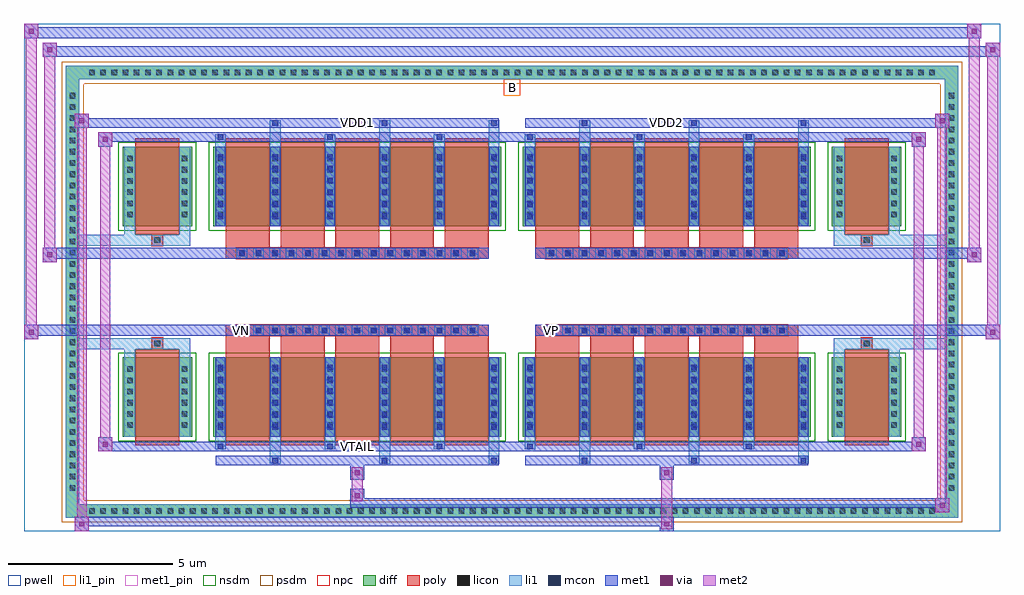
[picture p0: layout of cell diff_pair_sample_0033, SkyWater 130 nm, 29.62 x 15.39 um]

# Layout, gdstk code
import gdstk
lib = gdstk.Library(unit=1e-6, precision=5e-09)
def R(c, l, rs):  # rectangles x0, y0, x1, y1
    for r in rs: c.add(gdstk.rectangle(r[:2], r[2:], *l))
def A(c, l, x, y, w, h, nx, ny, dx, dy):  # array of equal rectangles
    R(c, l, [(x+i*dx, y+j*dy, x+i*dx+w, y+j*dy+h) for i in range(nx) for j in range(ny)])
def P(c, l, *ps):  # polygons
    for p in ps: c.add(gdstk.Polygon(p, *l))
pwell = (64, 44)
diff = (65, 20)
poly = (66, 20)
licon = (66, 44)
li1_pin = (67, 16)
li1 = (67, 20)
mcon = (67, 44)
met1_pin = (68, 16)
met1 = (68, 20)
via = (68, 44)
met2 = (69, 20)
nsdm = (93, 44)
psdm = (94, 20)
npc = (95, 20)

diff_pair_sample_0033 = lib.new_cell('diff_pair_sample_0033')
R(diff_pair_sample_0033, pwell, [(-14.81,-7.26,14.81,8.13), (-12.13,-5.45,-0.01,-0.805), (0.01,-5.45,12.13,-0.805), (-12.13,0.805,-0.01,5.45), (0.01,0.805,12.13,5.45)])
A(diff_pair_sample_0033, diff, -12.955, -6.86, 0.41, 0.41, 76, 2, 0.34, 13.31)
A(diff_pair_sample_0033, diff, -13.54, -6.155, 0.41, 0.41, 1, 36, 0, 0.34)
A(diff_pair_sample_0033, diff, 13.13, -6.155, 0.41, 0.41, 1, 36, 0, 0.34)
R(diff_pair_sample_0033, diff, [(-12.955,-6.86,12.955,-6.45), (-13.54,-6.155,-13.13,6.155), (13.13,-6.155,13.54,6.155), (-11.82,-4.405,-9.71,-1.985), (-9.07,-4.405,-0.32,-1.985), (0.32,-4.405,9.07,-1.985), (9.71,-4.405,11.82,-1.985), (-11.82,1.985,-9.71,4.405), (-9.07,1.985,-0.32,4.405), (0.32,1.985,9.07,4.405), (9.71,1.985,11.82,4.405), (-12.955,6.45,12.955,6.86)])
P(diff_pair_sample_0033, diff, [(13.54,6.86),(-13.54,6.86),(-13.54,-6.45),(-13.13,-6.45),(-13.13,6.45),(13.13,6.45),(13.13,-6.45),(-13.13,-6.45),(-13.54,-6.45),(-13.54,-6.86),(13.54,-6.86)])
A(diff_pair_sample_0033, poly, -8.68, -4.655, 1.33, 2.92, 5, 2, 1.66, 6.39)
A(diff_pair_sample_0033, poly, 0.71, -4.655, 1.33, 2.92, 5, 2, 1.66, 6.39)
A(diff_pair_sample_0033, poly, -8.68, -1.735, 1.33, 0.4, 5, 2, 1.66, 3.07)
A(diff_pair_sample_0033, poly, 0.71, -1.735, 1.33, 0.4, 5, 2, 1.66, 3.07)
A(diff_pair_sample_0033, poly, -8.36, -1.335, 0.33, 0.33, 15, 2, 0.5, 2.34)
A(diff_pair_sample_0033, poly, 1.03, -1.335, 0.33, 0.33, 15, 2, 0.5, 2.34)
R(diff_pair_sample_0033, poly, [(-11.43,-4.655,-10.1,-1.735), (10.1,-4.655,11.43,-1.735), (-10.93,-1.735,-10.6,-1.405), (-10.93,-1.735,-10.6,-1.405), (10.6,-1.735,10.93,-1.405), (10.6,-1.735,10.93,-1.405), (-8.68,-1.335,-0.71,-1.005), (0.71,-1.335,8.68,-1.005), (-8.68,1.005,-0.71,1.335), (0.71,1.005,8.68,1.335), (-10.93,1.405,-10.6,1.735), (-10.93,1.405,-10.6,1.735), (10.6,1.405,10.93,1.735), (10.6,1.405,10.93,1.735), (-11.43,1.735,-10.1,4.655), (10.1,1.735,11.43,4.655)])
A(diff_pair_sample_0033, licon, -12.835, -6.74, 0.17, 0.17, 76, 2, 0.34, 13.31)
A(diff_pair_sample_0033, licon, -13.42, -6.035, 0.17, 0.17, 1, 36, 0, 0.34)
A(diff_pair_sample_0033, licon, 13.25, -6.035, 0.17, 0.17, 1, 36, 0, 0.34)
A(diff_pair_sample_0033, licon, -11.68, -4.13, 0.17, 0.17, 1, 6, 0, 0.34)
A(diff_pair_sample_0033, licon, -10.02, -4.13, 0.17, 0.17, 1, 6, 0, 0.34)
A(diff_pair_sample_0033, licon, -8.93, -4.13, 0.17, 0.17, 6, 6, 1.66, 0.34)
A(diff_pair_sample_0033, licon, 0.46, -4.13, 0.17, 0.17, 6, 6, 1.66, 0.34)
A(diff_pair_sample_0033, licon, 9.85, -4.13, 0.17, 0.17, 1, 6, 0, 0.34)
A(diff_pair_sample_0033, licon, 11.51, -4.13, 0.17, 0.17, 1, 6, 0, 0.34)
A(diff_pair_sample_0033, licon, -8.28, -1.255, 0.17, 0.17, 15, 2, 0.5, 2.34)
A(diff_pair_sample_0033, licon, 1.11, -1.255, 0.17, 0.17, 15, 2, 0.5, 2.34)
A(diff_pair_sample_0033, licon, -11.68, 2.26, 0.17, 0.17, 1, 6, 0, 0.34)
A(diff_pair_sample_0033, licon, -10.02, 2.26, 0.17, 0.17, 1, 6, 0, 0.34)
A(diff_pair_sample_0033, licon, -8.93, 2.26, 0.17, 0.17, 6, 6, 1.66, 0.34)
A(diff_pair_sample_0033, licon, 0.46, 2.26, 0.17, 0.17, 6, 6, 1.66, 0.34)
A(diff_pair_sample_0033, licon, 9.85, 2.26, 0.17, 0.17, 1, 6, 0, 0.34)
A(diff_pair_sample_0033, licon, 11.51, 2.26, 0.17, 0.17, 1, 6, 0, 0.34)
R(diff_pair_sample_0033, licon, [(-10.85,-1.655,-10.68,-1.485), (10.68,-1.655,10.85,-1.485), (-10.85,1.485,-10.68,1.655), (10.68,1.485,10.85,1.655)])
R(diff_pair_sample_0033, li1_pin, [(-0.25,5.95,0.25,6.45)])
A(diff_pair_sample_0033, li1, -12.915, -6.82, 0.33, 0.33, 76, 2, 0.34, 13.31)
A(diff_pair_sample_0033, li1, -13.5, -6.115, 0.33, 0.33, 1, 36, 0, 0.34)
A(diff_pair_sample_0033, li1, 13.17, -6.115, 0.33, 0.33, 1, 36, 0, 0.34)
A(diff_pair_sample_0033, li1, -7.35, -5.21, 0.33, 0.805, 3, 2, 3.32, 9.615)
A(diff_pair_sample_0033, li1, -7.27, -5.21, 0.17, 0.17, 3, 2, 3.32, 10.25)
A(diff_pair_sample_0033, li1, 2.04, -5.21, 0.33, 0.805, 3, 2, 3.32, 9.615)
A(diff_pair_sample_0033, li1, 2.12, -5.21, 0.17, 0.17, 3, 2, 3.32, 10.25)
A(diff_pair_sample_0033, li1, -9.01, -4.78, 0.33, 0.375, 3, 2, 3.32, 9.185)
A(diff_pair_sample_0033, li1, -8.93, -4.78, 0.17, 0.17, 3, 2, 3.32, 9.39)
A(diff_pair_sample_0033, li1, 0.38, -4.78, 0.33, 0.375, 3, 2, 3.32, 9.185)
A(diff_pair_sample_0033, li1, 0.46, -4.78, 0.17, 0.17, 3, 2, 3.32, 9.39)
A(diff_pair_sample_0033, li1, -9.01, -4.405, 0.33, 2.42, 6, 2, 1.66, 6.39)
A(diff_pair_sample_0033, li1, 0.38, -4.405, 0.33, 2.42, 6, 2, 1.66, 6.39)
A(diff_pair_sample_0033, li1, -11.76, -4.21, 0.33, 0.33, 1, 6, 0, 0.34)
A(diff_pair_sample_0033, li1, -10.1, -4.21, 0.33, 0.33, 1, 6, 0, 0.34)
A(diff_pair_sample_0033, li1, -9.01, -4.21, 0.33, 0.33, 6, 6, 1.66, 0.34)
A(diff_pair_sample_0033, li1, 0.38, -4.21, 0.33, 0.33, 6, 6, 1.66, 0.34)
A(diff_pair_sample_0033, li1, 9.77, -4.21, 0.33, 0.33, 1, 6, 0, 0.34)
A(diff_pair_sample_0033, li1, 11.43, -4.21, 0.33, 0.33, 1, 6, 0, 0.34)
A(diff_pair_sample_0033, li1, -8.93, -4.18, 0.17, 0.17, 6, 6, 1.66, 0.36)
A(diff_pair_sample_0033, li1, -8.93, -4.18, 0.17, 1.97, 6, 2, 1.66, 6.39)
A(diff_pair_sample_0033, li1, 0.46, -4.18, 0.17, 0.17, 6, 6, 1.66, 0.36)
A(diff_pair_sample_0033, li1, 0.46, -4.18, 0.17, 1.97, 6, 2, 1.66, 6.39)
A(diff_pair_sample_0033, li1, -8.36, -1.335, 0.33, 0.33, 15, 2, 0.5, 2.34)
A(diff_pair_sample_0033, li1, 1.03, -1.335, 0.33, 0.33, 15, 2, 0.5, 2.34)
A(diff_pair_sample_0033, li1, -11.76, 2.18, 0.33, 0.33, 1, 6, 0, 0.34)
A(diff_pair_sample_0033, li1, -10.1, 2.18, 0.33, 0.33, 1, 6, 0, 0.34)
A(diff_pair_sample_0033, li1, -9.01, 2.18, 0.33, 0.33, 6, 6, 1.66, 0.34)
A(diff_pair_sample_0033, li1, 0.38, 2.18, 0.33, 0.33, 6, 6, 1.66, 0.34)
A(diff_pair_sample_0033, li1, 9.77, 2.18, 0.33, 0.33, 1, 6, 0, 0.34)
A(diff_pair_sample_0033, li1, 11.43, 2.18, 0.33, 0.33, 1, 6, 0, 0.34)
A(diff_pair_sample_0033, li1, -8.93, 2.21, 0.17, 0.17, 6, 6, 1.66, 0.36)
A(diff_pair_sample_0033, li1, 0.46, 2.21, 0.17, 0.17, 6, 6, 1.66, 0.36)
R(diff_pair_sample_0033, li1, [(-13.54,-6.86,-13.13,-6.45), (-13.54,-6.86,-13.13,-6.45), (-13.13,-6.86,13.13,-6.45), (13.13,-6.86,13.54,-6.45), (13.13,-6.86,13.54,-6.45), (-13.54,-6.45,-13.13,6.45), (13.13,-6.45,13.54,6.45), (-11.76,-4.405,-11.43,-1.985), (-10.1,-4.405,-9.77,-1.985), (9.77,-4.405,10.1,-1.985), (11.43,-4.405,11.76,-1.985), (-11.76,-1.985,-11.43,-1.405), (-10.1,-1.985,-9.77,-1.405), (9.77,-1.985,10.1,-1.405), (11.43,-1.985,11.76,-1.405), (-13.54,-1.735,-10.93,-1.405), (-11.76,-1.735,-10.93,-1.405), (-10.93,-1.735,-10.6,-1.405), (-10.6,-1.735,-9.77,-1.405), (9.77,-1.735,10.6,-1.405), (10.6,-1.735,10.93,-1.405), (10.6,-1.735,13.54,-1.405), (10.93,-1.735,11.76,-1.405), (-13.54,1.405,-10.93,1.735), (-11.76,1.405,-10.93,1.735), (-11.76,1.405,-11.43,1.985), (-10.93,1.405,-10.6,1.735), (-10.6,1.405,-9.77,1.735), (-10.1,1.405,-9.77,1.985), (9.77,1.405,10.6,1.735), (9.77,1.405,10.1,1.985), (10.6,1.405,10.93,1.735), (10.6,1.405,13.54,1.735), (10.93,1.405,11.76,1.735), (11.43,1.405,11.76,1.985), (-11.76,1.985,-11.43,4.405), (-10.1,1.985,-9.77,4.405), (9.77,1.985,10.1,4.405), (11.43,1.985,11.76,4.405), (-13.54,6.45,-13.13,6.86), (-13.54,6.45,-13.13,6.86), (-13.13,6.45,13.13,6.86), (13.13,6.45,13.54,6.86), (13.13,6.45,13.54,6.86)])
A(diff_pair_sample_0033, mcon, -7.27, -5.21, 0.17, 0.17, 3, 2, 3.32, 10.25)
A(diff_pair_sample_0033, mcon, 2.12, -5.21, 0.17, 0.17, 3, 2, 3.32, 10.25)
A(diff_pair_sample_0033, mcon, -8.93, -4.78, 0.17, 0.17, 3, 2, 3.32, 9.39)
A(diff_pair_sample_0033, mcon, 0.46, -4.78, 0.17, 0.17, 3, 2, 3.32, 9.39)
A(diff_pair_sample_0033, mcon, -8.93, -4.18, 0.17, 0.17, 6, 6, 1.66, 0.36)
A(diff_pair_sample_0033, mcon, 0.46, -4.18, 0.17, 0.17, 6, 6, 1.66, 0.36)
A(diff_pair_sample_0033, mcon, -8.28, -1.255, 0.17, 0.17, 15, 2, 0.5, 2.34)
A(diff_pair_sample_0033, mcon, 1.11, -1.255, 0.17, 0.17, 15, 2, 0.5, 2.34)
A(diff_pair_sample_0033, mcon, -8.93, 2.21, 0.17, 0.17, 6, 6, 1.66, 0.36)
A(diff_pair_sample_0033, mcon, 0.46, 2.21, 0.17, 0.17, 6, 6, 1.66, 0.36)
R(diff_pair_sample_0033, met1_pin, [(-4.83,-4.82,-4.56,-4.55), (-8.33,-1.295,-8.06,-1.025), (1.06,-1.295,1.33,-1.025), (-4.83,5,-4.56,5.27), (4.56,5,4.83,5.27)])
A(diff_pair_sample_0033, met1, -7.33, -5.27, 0.29, 0.29, 3, 2, 3.32, 10.25)
A(diff_pair_sample_0033, met1, 2.06, -5.27, 0.29, 0.29, 3, 2, 3.32, 10.25)
A(diff_pair_sample_0033, met1, -8.99, -4.84, 0.29, 0.29, 3, 2, 3.32, 9.39)
A(diff_pair_sample_0033, met1, 0.4, -4.84, 0.29, 0.29, 3, 2, 3.32, 9.39)
A(diff_pair_sample_0033, met1, -8.99, -4.405, 0.29, 2.42, 6, 2, 1.66, 6.39)
A(diff_pair_sample_0033, met1, 0.4, -4.405, 0.29, 2.42, 6, 2, 1.66, 6.39)
A(diff_pair_sample_0033, met1, -8.99, -4.24, 0.29, 0.29, 6, 6, 1.66, 0.36)
A(diff_pair_sample_0033, met1, 0.4, -4.24, 0.29, 0.29, 6, 6, 1.66, 0.36)
A(diff_pair_sample_0033, met1, -8.34, -1.315, 0.29, 0.29, 15, 2, 0.5, 2.34)
A(diff_pair_sample_0033, met1, 1.05, -1.315, 0.29, 0.29, 15, 2, 0.5, 2.34)
A(diff_pair_sample_0033, met1, -8.99, 2.15, 0.29, 0.29, 6, 6, 1.66, 0.36)
A(diff_pair_sample_0033, met1, 0.4, 2.15, 0.29, 0.29, 6, 6, 1.66, 0.36)
R(diff_pair_sample_0033, met1, [(-13.27,-7.26,-12.84,-6.83), (4.48,-7.26,4.91,-6.83), (-13.27,-7.12,4.91,-6.83), (12.84,-6.69,13.27,-6.26), (-4.91,-6.55,13.27,-6.26), (-4.91,-6.41,-4.48,-5.98), (-4.91,-5.7,-4.48,-5.27), (4.48,-5.7,4.91,-5.27), (-8.99,-5.27,-0.4,-4.98), (0.4,-5.27,8.99,-4.98), (-12.56,-4.84,-12.13,-4.41), (-12.56,-4.84,-8.99,-4.55), (-8.99,-4.84,-0.4,-4.55), (-0.4,-4.84,0.4,-4.55), (0.4,-4.84,8.99,-4.55), (8.99,-4.84,12.56,-4.55), (12.13,-4.84,12.56,-4.41), (-14.81,-1.435,-14.38,-1.005), (14.38,-1.435,14.81,-1.005), (-14.81,-1.335,-0.71,-1.005), (-8.68,-1.335,-0.71,-1.005), (0.71,-1.335,8.68,-1.005), (0.71,-1.335,14.81,-1.005), (-14.24,0.905,-13.81,1.335), (13.81,0.905,14.24,1.335), (-14.24,1.005,-8.68,1.335), (-8.68,1.005,-0.71,1.335), (0.71,1.005,8.68,1.335), (8.68,1.005,14.24,1.335), (-12.56,4.41,-12.13,4.84), (12.13,4.41,12.56,4.84), (-12.56,4.55,-8.99,4.84), (-8.99,4.55,-0.4,4.84), (-0.4,4.55,0.4,4.84), (0.4,4.55,8.99,4.84), (8.99,4.55,12.56,4.84), (-13.27,4.98,-12.84,5.41), (-13.27,4.98,-8.99,5.27), (-8.99,4.98,-0.4,5.27), (0.4,4.98,8.99,5.27), (8.99,4.98,13.27,5.27), (12.84,4.98,13.27,5.41), (-14.24,7.13,-13.81,7.56), (-14.24,7.13,-12.13,7.46), (-12.13,7.13,12.13,7.46), (12.13,7.13,14.81,7.46), (14.38,7.13,14.81,7.56), (-14.81,7.7,-14.38,8.13), (-14.81,7.7,-12.13,8.03), (-12.13,7.7,12.13,8.03), (12.13,7.7,14.24,8.03), (13.81,7.7,14.24,8.13)])
R(diff_pair_sample_0033, via, [(-13.13,-7.12,-12.98,-6.97), (4.62,-7.12,4.77,-6.97), (12.98,-6.55,13.13,-6.4), (-4.77,-6.27,-4.62,-6.12), (-4.77,-5.56,-4.62,-5.41), (4.62,-5.56,4.77,-5.41), (-12.42,-4.7,-12.27,-4.55), (12.27,-4.7,12.42,-4.55), (-14.67,-1.295,-14.52,-1.145), (14.52,-1.295,14.67,-1.145), (-14.1,1.045,-13.95,1.195), (13.95,1.045,14.1,1.195), (-12.42,4.55,-12.27,4.7), (12.27,4.55,12.42,4.7), (-13.13,5.12,-12.98,5.27), (12.98,5.12,13.13,5.27), (-14.1,7.27,-13.95,7.42), (14.52,7.27,14.67,7.42), (-14.67,7.84,-14.52,7.99), (13.95,7.84,14.1,7.99)])
R(diff_pair_sample_0033, met2, [(-13.27,-7.26,-12.84,-6.83), (-13.2,-7.26,-12.91,5.41), (-12.91,-7.26,-12.84,-6.83), (-13.22,-7.21,-12.89,-6.88), (4.53,-7.21,4.86,-6.88), (4.53,-6.88,4.86,-5.65), (12.84,-6.69,13.27,-6.26), (12.91,-6.69,13.2,5.41), (13.2,-6.69,13.27,-6.26), (12.89,-6.64,13.22,-6.31), (-4.86,-6.36,-4.53,-6.03), (-4.86,-6.03,-4.53,-5.65), (-4.86,-5.65,-4.53,-5.32), (4.53,-5.65,4.86,-5.32), (-12.56,-4.84,-12.13,-4.41), (-12.49,-4.84,-12.2,4.84), (-12.2,-4.84,-12.13,-4.41), (12.13,-4.84,12.56,-4.41), (12.2,-4.84,12.49,4.84), (12.49,-4.84,12.56,-4.41), (-12.51,-4.79,-12.18,-4.46), (12.18,-4.79,12.51,-4.46), (-14.81,-1.435,-14.38,-1.005), (-14.76,-1.435,-14.43,8.13), (-14.43,-1.435,-14.38,-1.005), (14.38,-1.435,14.81,-1.005), (14.43,-1.435,14.76,7.56), (14.76,-1.435,14.81,-1.005), (-14.76,-1.385,-14.43,-1.055), (14.43,-1.385,14.76,-1.055), (-14.24,0.905,-13.81,1.335), (-14.19,0.905,-13.86,7.56), (-13.86,0.905,-13.81,1.335), (13.81,0.905,14.24,1.335), (13.86,0.905,14.19,8.13), (14.19,0.905,14.24,1.335), (-14.19,0.955,-13.86,1.285), (13.86,0.955,14.19,1.285), (-12.56,4.41,-12.13,4.84), (-12.2,4.41,-12.13,4.84), (12.13,4.41,12.56,4.84), (12.49,4.41,12.56,4.84), (-12.51,4.46,-12.18,4.79), (12.18,4.46,12.51,4.79), (-13.27,4.98,-12.84,5.41), (-12.91,4.98,-12.84,5.41), (12.84,4.98,13.27,5.41), (13.2,4.98,13.27,5.41), (-13.22,5.03,-12.89,5.36), (12.89,5.03,13.22,5.36), (-14.24,7.13,-13.81,7.56), (-13.86,7.13,-13.81,7.56), (14.38,7.13,14.81,7.56), (14.76,7.13,14.81,7.56), (-14.19,7.18,-13.86,7.51), (14.43,7.18,14.76,7.51), (-14.81,7.7,-14.38,8.13), (-14.43,7.7,-14.38,8.13), (13.81,7.7,14.24,8.13), (14.19,7.7,14.24,8.13), (-14.76,7.75,-14.43,8.08), (13.86,7.75,14.19,8.08)])
R(diff_pair_sample_0033, nsdm, [(-11.95,-4.535,-9.58,-1.855), (-9.2,-4.535,-0.19,-1.855), (0.19,-4.535,9.2,-1.855), (9.58,-4.535,11.95,-1.855), (-11.95,1.855,-9.58,4.535), (-9.2,1.855,-0.19,4.535), (0.19,1.855,9.2,4.535), (9.58,1.855,11.95,4.535)])
P(diff_pair_sample_0033, psdm, [(13.67,6.99),(-13.67,6.99),(-13.67,-6.32),(-13,-6.32),(-13,6.32),(13,6.32),(13,-6.32),(-13,-6.32),(-13.67,-6.32),(-13.67,-6.99),(13.67,-6.99)])
A(diff_pair_sample_0033, npc, -8.38, -1.355, 0.37, 0.37, 15, 2, 0.5, 2.34)
A(diff_pair_sample_0033, npc, 1.01, -1.355, 0.37, 0.37, 15, 2, 0.5, 2.34)
R(diff_pair_sample_0033, npc, [(-10.95,-1.755,-10.58,-1.385), (10.58,-1.755,10.95,-1.385), (-8.38,-1.355,-7.51,-0.985), (-8.38,-1.355,-7.51,-0.985), (-7.88,-1.355,-7.01,-0.985), (-7.88,-1.355,-7.01,-0.985), (-7.38,-1.355,-6.51,-0.985), (-7.38,-1.355,-6.51,-0.985), (-6.88,-1.355,-6.01,-0.985), (-6.88,-1.355,-6.01,-0.985), (-6.38,-1.355,-5.51,-0.985), (-6.38,-1.355,-5.51,-0.985), (-5.88,-1.355,-5.01,-0.985), (-5.88,-1.355,-5.01,-0.985), (-5.38,-1.355,-4.51,-0.985), (-5.38,-1.355,-4.51,-0.985), (-4.88,-1.355,-4.01,-0.985), (-4.88,-1.355,-4.01,-0.985), (-4.38,-1.355,-3.51,-0.985), (-4.38,-1.355,-3.51,-0.985), (-3.88,-1.355,-3.01,-0.985), (-3.88,-1.355,-3.01,-0.985), (-3.38,-1.355,-2.51,-0.985), (-3.38,-1.355,-2.51,-0.985), (-2.88,-1.355,-2.01,-0.985), (-2.88,-1.355,-2.01,-0.985), (-2.38,-1.355,-1.51,-0.985), (-2.38,-1.355,-1.51,-0.985), (-1.88,-1.355,-1.01,-0.985), (-1.88,-1.355,-1.01,-0.985), (1.01,-1.355,1.88,-0.985), (1.01,-1.355,1.88,-0.985), (1.51,-1.355,2.38,-0.985), (1.51,-1.355,2.38,-0.985), (2.01,-1.355,2.88,-0.985), (2.01,-1.355,2.88,-0.985), (2.51,-1.355,3.38,-0.985), (2.51,-1.355,3.38,-0.985), (3.01,-1.355,3.88,-0.985), (3.01,-1.355,3.88,-0.985), (3.51,-1.355,4.38,-0.985), (3.51,-1.355,4.38,-0.985), (4.01,-1.355,4.88,-0.985), (4.01,-1.355,4.88,-0.985), (4.51,-1.355,5.38,-0.985), (4.51,-1.355,5.38,-0.985), (5.01,-1.355,5.88,-0.985), (5.01,-1.355,5.88,-0.985), (5.51,-1.355,6.38,-0.985), (5.51,-1.355,6.38,-0.985), (6.01,-1.355,6.88,-0.985), (6.01,-1.355,6.88,-0.985), (6.51,-1.355,7.38,-0.985), (6.51,-1.355,7.38,-0.985), (7.01,-1.355,7.88,-0.985), (7.01,-1.355,7.88,-0.985), (7.51,-1.355,8.38,-0.985), (7.51,-1.355,8.38,-0.985), (-8.38,0.985,-7.51,1.355), (-8.38,0.985,-7.51,1.355), (-7.88,0.985,-7.01,1.355), (-7.88,0.985,-7.01,1.355), (-7.38,0.985,-6.51,1.355), (-7.38,0.985,-6.51,1.355), (-6.88,0.985,-6.01,1.355), (-6.88,0.985,-6.01,1.355), (-6.38,0.985,-5.51,1.355), (-6.38,0.985,-5.51,1.355), (-5.88,0.985,-5.01,1.355), (-5.88,0.985,-5.01,1.355), (-5.38,0.985,-4.51,1.355), (-5.38,0.985,-4.51,1.355), (-4.88,0.985,-4.01,1.355), (-4.88,0.985,-4.01,1.355), (-4.38,0.985,-3.51,1.355), (-4.38,0.985,-3.51,1.355), (-3.88,0.985,-3.01,1.355), (-3.88,0.985,-3.01,1.355), (-3.38,0.985,-2.51,1.355), (-3.38,0.985,-2.51,1.355), (-2.88,0.985,-2.01,1.355), (-2.88,0.985,-2.01,1.355), (-2.38,0.985,-1.51,1.355), (-2.38,0.985,-1.51,1.355), (-1.88,0.985,-1.01,1.355), (-1.88,0.985,-1.01,1.355), (1.01,0.985,1.88,1.355), (1.01,0.985,1.88,1.355), (1.51,0.985,2.38,1.355), (1.51,0.985,2.38,1.355), (2.01,0.985,2.88,1.355), (2.01,0.985,2.88,1.355), (2.51,0.985,3.38,1.355), (2.51,0.985,3.38,1.355), (3.01,0.985,3.88,1.355), (3.01,0.985,3.88,1.355), (3.51,0.985,4.38,1.355), (3.51,0.985,4.38,1.355), (4.01,0.985,4.88,1.355), (4.01,0.985,4.88,1.355), (4.51,0.985,5.38,1.355), (4.51,0.985,5.38,1.355), (5.01,0.985,5.88,1.355), (5.01,0.985,5.88,1.355), (5.51,0.985,6.38,1.355), (5.51,0.985,6.38,1.355), (6.01,0.985,6.88,1.355), (6.01,0.985,6.88,1.355), (6.51,0.985,7.38,1.355), (6.51,0.985,7.38,1.355), (7.01,0.985,7.88,1.355), (7.01,0.985,7.88,1.355), (7.51,0.985,8.38,1.355), (7.51,0.985,8.38,1.355), (-10.95,1.385,-10.58,1.755), (10.58,1.385,10.95,1.755)])
diff_pair_sample_0033.add(gdstk.Label('VTAIL', (-4.695,-4.685), layer=68, texttype=5))
diff_pair_sample_0033.add(gdstk.Label('VN', (-8.195,-1.16), layer=68, texttype=5))
diff_pair_sample_0033.add(gdstk.Label('VP', (1.195,-1.16), layer=68, texttype=5))
diff_pair_sample_0033.add(gdstk.Label('B', (0,6.2), layer=67, texttype=5))
diff_pair_sample_0033.add(gdstk.Label('VDD2', (4.695,5.135), layer=68, texttype=5))
diff_pair_sample_0033.add(gdstk.Label('VDD1', (-4.695,5.135), layer=68, texttype=5))

lib.write_gds('diff_pair_sample_0033.gds')
